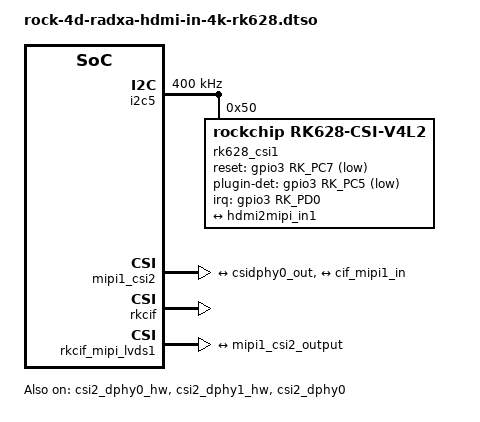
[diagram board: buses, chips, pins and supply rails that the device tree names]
/dts-v1/;
/plugin/;

#include <dt-bindings/gpio/gpio.h>
#include <dt-bindings/interrupt-controller/irq.h>
#include <dt-bindings/pinctrl/rockchip.h>
#include <dt-bindings/power/rk3576-power.h>

/ {
	metadata {
		title = "Enable Radxa 4K HDMI IN to MIPI CSI-2 Adapter on 4-lane CSI";
		compatible = "radxa,rock-4d";
		category = "camera";
		exclusive = "GPIO3_D0", "GPIO3_C7", "GPIO3_C5", "csi2_dphy0", "i2c5";
		description = "Enable Radxa 4K HDMI IN to MIPI CSI-2 Adapter on the 4-lane CSI connector.
To capture audio, also enable the 'SAI2-M0 capture-only dummy sound card' overlay.
";
	};
};

&i2c5 {
	status = "okay";
	pinctrl-names = "default";
	pinctrl-0 = <&i2c5m3_xfer>;
	clock-frequency = <400000>;
	#address-cells = <1>;
	#size-cells = <0>;

	rk628_csi1: rk628-csi@50 {
		compatible = "rockchip,rk628-csi-v4l2";
		reg = <0x50>;
		power-domains = <&power RK3576_PD_VI>;
		pinctrl-names = "default";
		pinctrl-0 = <&rk628_pin1>;
		interrupt-parent = <&gpio3>;
		interrupts = <RK_PD0 IRQ_TYPE_LEVEL_HIGH>;
		reset-gpios = <&gpio3 RK_PC7 GPIO_ACTIVE_LOW>;
		plugin-det-gpios = <&gpio3 RK_PC5 GPIO_ACTIVE_LOW>;
		continues-clk = <1>;

		rockchip,camera-module-index = <1>;
		rockchip,camera-module-facing = "back";
		rockchip,camera-module-name = "HDMI-MIPI1";
		rockchip,camera-module-lens-name = "RK628-CSI";

		port {
			hdmiin_out1: endpoint {
				remote-endpoint = <&hdmi2mipi_in1>;
				data-lanes = <1 2 3 4>;
			};
		};
	};
};

&csi2_dphy0_hw {
	status = "okay";
};

&csi2_dphy1_hw {
	status = "okay";
};

&csi2_dphy0 {
	status = "okay";

	ports {
		#address-cells = <1>;
		#size-cells = <0>;

		port@0 {
			reg = <0>;
			#address-cells = <1>;
			#size-cells = <0>;

			hdmi2mipi_in1: endpoint@1 {
				reg = <1>;
				remote-endpoint = <&hdmiin_out1>;
				data-lanes = <1 2 3 4>;
			};
		};

		port@1 {
			reg = <1>;

			csidphy0_out: endpoint {
				remote-endpoint = <&mipi1_csi2_input>;
			};
		};
	};
};

&mipi1_csi2 {
	status = "okay";

	ports {
		#address-cells = <1>;
		#size-cells = <0>;

		port@0 {
			reg = <0>;
			#address-cells = <1>;
			#size-cells = <0>;

			mipi1_csi2_input: endpoint@1 {
				reg = <1>;
				remote-endpoint = <&csidphy0_out>;
			};
		};

		port@1 {
			reg = <1>;

			mipi1_csi2_output: endpoint {
				remote-endpoint = <&cif_mipi1_in>;
			};
		};
	};
};

&rkcif {
	status = "okay";
};

&rkcif_mipi_lvds1 {
	status = "okay";

	port {
		cif_mipi1_in: endpoint {
			remote-endpoint = <&mipi1_csi2_output>;
		};
	};
};

&rkcif_mmu {
	status = "okay";
};

&pinctrl {
	hdmiin {
		rk628_pin1: rk628-pin1 {
			rockchip,pins =
				<3 RK_PD0 RK_FUNC_GPIO &pcfg_pull_none>,
				<3 RK_PC7 RK_FUNC_GPIO &pcfg_pull_none>,
				<3 RK_PC5 RK_FUNC_GPIO &pcfg_pull_none>;
		};
	};
};
